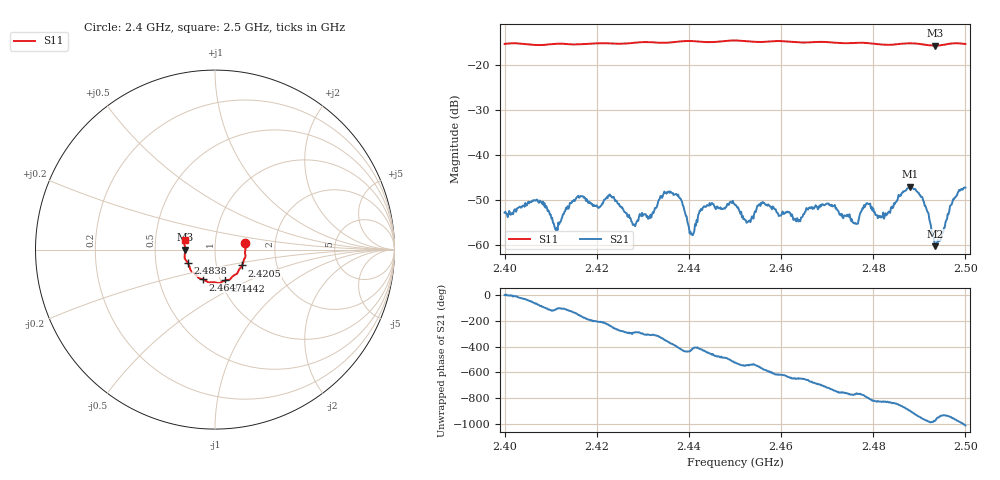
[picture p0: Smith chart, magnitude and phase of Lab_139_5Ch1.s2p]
# Hz S RI R 50
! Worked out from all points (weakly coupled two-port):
!   601 points, 2.4 GHz to 2.5 GHz, reference 50 ohm
!   highest |S21| = -46.98 dB at 2.488 GHz (marker M1); lowest = -60.2 dB at 2.4935 GHz (marker M2)
!   lowest |S11| = -15.6 dB at 2.4933 GHz (marker M3), VSWR 1.40, Z = 35.8 - j0.0267 ohm
!   |S11| at or under -10 dB: start of sweep to end of sweep
!   S12 and S22 are empty: the file has one direction only
!   S11 on the Smith chart (normalised r, x): 2.4 GHz: 1.40, +0.11; 2.4205 GHz: 1.33, -0.24; 2.4442 GHz: 1.05, -0.37; 2.4647 GHz: 0.83, -0.29; 2.4838 GHz: 0.73, -0.11; 2.5 GHz: 0.71, +0.08
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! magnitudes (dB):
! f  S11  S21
! 2.4 GHz  -15.2  -52.7
! 2.4073 GHz  -15.5  -50.4
! 2.4113 GHz  -15.2  -56.1
! 2.4167 GHz  -15.3  -49.1
! 2.4205 GHz  -15.1  -51.6
! 2.4232 GHz  -15.1  -49.1
! 2.4282 GHz  -15.0  -55.4
! 2.4333 GHz  -15.0  -50.2
! 2.4377 GHz  -14.7  -48.7
! 2.4407 GHz  -14.6  -57.6
! 2.4442 GHz  -14.8  -51.1
! 2.45 GHz  -14.5  -51.0
! 2.4528 GHz  -14.7  -54.7
! 2.4647 GHz  -14.9  -53.6
! 2.4667 GHz  -14.9  -51.5
! 2.4833 GHz  -15.4  -52.5
! 2.4838 GHz  -15.4  -51.7
! 2.488 GHz  -15.1  -47.0
! 2.491 GHz  -15.4  -50.3
! 2.4933 GHz  -15.6  -59.5
! 2.4935 GHz  -15.6  -60.2
! 2.5 GHz  -15.2  -47.2
